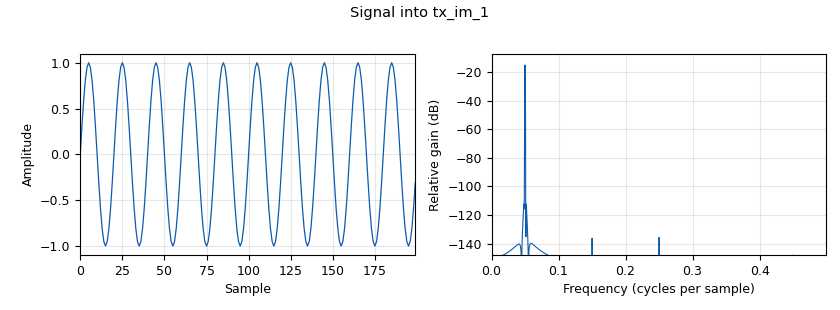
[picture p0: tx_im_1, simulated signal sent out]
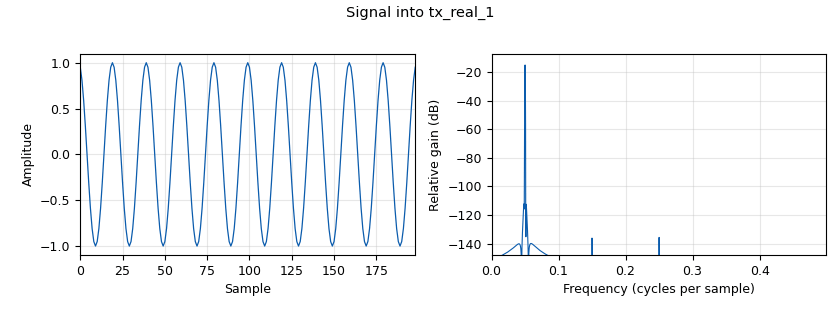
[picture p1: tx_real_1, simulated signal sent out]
<?xml version='1.0' encoding='utf-8'?>
<?grc format='1' created='3.7.9'?>
<flow_graph>
<block>
<key>options</key>
<param><key>id</key><value>Power</value></param>
<param><key>category</key><value>Custom</value></param>
<param><key>generate_options</key><value>wx_gui</value></param>
</block>
<block>
<key>variable</key>
<param><key>id</key><value>freq</value></param>
<param><key>value</key><value>5.8e09</value></param>
</block>
<block>
<key>variable</key>
<param><key>id</key><value>mean_length</value></param>
<param><key>value</key><value>1</value></param>
</block>
<block>
<key>variable</key>
<param><key>id</key><value>samp_rate</value></param>
<param><key>value</key><value>20</value></param>
</block>
<block>
<key>variable_slider</key>
<param><key>id</key><value>samp_rate</value></param>
<param><key>converver</key><value>float_converter</value></param>
<param><key>value</key><value>50</value></param>
<param><key>_enabled</key><value>0</value></param>
<param><key>label</key><value></value></param>
<param><key>max</key><value>1e5</value></param>
<param><key>min</key><value>0</value></param>
<param><key>num_steps</key><value>100</value></param>
<param><key>style</key><value>wx.SL_HORIZONTAL</value></param>
</block>
<block>
<key>variable_slider</key>
<param><key>id</key><value>source_freq</value></param>
<param><key>converver</key><value>float_converter</value></param>
<param><key>value</key><value>50</value></param>
<param><key>_enabled</key><value>0</value></param>
<param><key>label</key><value></value></param>
<param><key>max</key><value>200e3</value></param>
<param><key>min</key><value>0</value></param>
<param><key>num_steps</key><value>100</value></param>
<param><key>style</key><value>wx.SL_HORIZONTAL</value></param>
</block>
<block>
<key>variable</key>
<param><key>id</key><value>vect_len</value></param>
<param><key>value</key><value>1024</value></param>
</block>
<block>
<key>blocks_file_sink</key>
<param><key>id</key><value>Rx_im_1</value></param>
<param><key>file</key><value>/home/biomindr/Data/Rx_I_1</value></param>
<param><key>type</key><value>float</value></param>
<param><key>unbuffered</key><value>True</value></param>
<param><key>vlen</key><value>vect_len</value></param>
</block>
<block>
<key>blocks_file_sink</key>
<param><key>id</key><value>Rx_real_1</value></param>
<param><key>file</key><value>/home/biomindr/Data/Rx_R_1</value></param>
<param><key>type</key><value>float</value></param>
<param><key>unbuffered</key><value>True</value></param>
<param><key>vlen</key><value>vect_len</value></param>
</block>
<block>
<key>analog_sig_source_x</key>
<param><key>id</key><value>analog_sig_source_x_0</value></param>
<param><key>amp</key><value>1</value></param>
<param><key>freq</key><value>mean_length</value></param>
<param><key>offset</key><value>0</value></param>
<param><key>type</key><value>complex</value></param>
<param><key>samp_rate</key><value>samp_rate</value></param>
<param><key>waveform</key><value>analog.GR_SIN_WAVE</value></param>
</block>
<block>
<key>blocks_complex_to_imag</key>
<param><key>id</key><value>blocks_complex_to_imag_0_0</value></param>
<param><key>vlen</key><value>vect_len</value></param>
</block>
<block>
<key>blocks_complex_to_imag</key>
<param><key>id</key><value>blocks_complex_to_imag_0_1</value></param>
<param><key>vlen</key><value>vect_len</value></param>
</block>
<block>
<key>blocks_complex_to_mag_squared</key>
<param><key>id</key><value>blocks_complex_to_mag_squared_2</value></param>
</block>
<block>
<key>blocks_complex_to_real</key>
<param><key>id</key><value>blocks_complex_to_real_0</value></param>
<param><key>_enabled</key><value>0</value></param>
</block>
<block>
<key>blocks_complex_to_real</key>
<param><key>id</key><value>blocks_complex_to_real_0_0</value></param>
<param><key>vlen</key><value>vect_len</value></param>
</block>
<block>
<key>blocks_complex_to_real</key>
<param><key>id</key><value>blocks_complex_to_real_0_1</value></param>
<param><key>vlen</key><value>vect_len</value></param>
</block>
<block>
<key>blocks_conjugate_cc</key>
<param><key>id</key><value>blocks_conjugate_cc_0</value></param>
<param><key>_enabled</key><value>0</value></param>
</block>
<block>
<key>blocks_file_sink</key>
<param><key>id</key><value>blocks_file_sink_0</value></param>
<param><key>file</key><value>/home/biomindr/Data/Rx_A_1</value></param>
<param><key>type</key><value>float</value></param>
<param><key>vlen</key><value>vect_len</value></param>
</block>
<block>
<key>blocks_multiply_const_vxx</key>
<param><key>id</key><value>blocks_multiply_const_vxx_0</value></param>
<param><key>const</key><value>1000</value></param>
<param><key>_enabled</key><value>0</value></param>
<param><key>type</key><value>float</value></param>
</block>
<block>
<key>blocks_multiply_xx</key>
<param><key>id</key><value>blocks_multiply_xx_0</value></param>
<param><key>_enabled</key><value>0</value></param>
<param><key>type</key><value>complex</value></param>
</block>
<block>
<key>blocks_stream_to_vector</key>
<param><key>id</key><value>blocks_stream_to_vector_0</value></param>
<param><key>type</key><value>float</value></param>
<param><key>num_items</key><value>vect_len</value></param>
</block>
<block>
<key>blocks_stream_to_vector</key>
<param><key>id</key><value>blocks_stream_to_vector_0_0</value></param>
<param><key>type</key><value>complex</value></param>
<param><key>num_items</key><value>vect_len</value></param>
</block>
<block>
<key>blocks_stream_to_vector</key>
<param><key>id</key><value>blocks_stream_to_vector_0_1</value></param>
<param><key>type</key><value>complex</value></param>
<param><key>num_items</key><value>vect_len</value></param>
</block>
<block>
<key>blocks_file_sink</key>
<param><key>id</key><value>tx_im_1</value></param>
<param><key>file</key><value>/home/biomindr/Data/Tx_I_1</value></param>
<param><key>type</key><value>float</value></param>
<param><key>unbuffered</key><value>True</value></param>
<param><key>vlen</key><value>vect_len</value></param>
</block>
<block>
<key>blocks_file_sink</key>
<param><key>id</key><value>tx_real_1</value></param>
<param><key>file</key><value>/home/biomindr/Data/Tx_R_1.txt</value></param>
<param><key>type</key><value>float</value></param>
<param><key>unbuffered</key><value>True</value></param>
<param><key>vlen</key><value>vect_len</value></param>
</block>
<block>
<key>uhd_usrp_sink</key>
<param><key>id</key><value>uhd_usrp_sink_0</value></param>
<param><key>ant0</key><value>TX/RX</value></param>
<param><key>center_freq0</key><value>freq</value></param>
<param><key>norm_gain0</key><value>False</value></param>
<param><key>gain0</key><value>56</value></param>
<param><key>clock_rate</key><value>0.0</value></param>
<param><key>dev_args</key><value>""</value></param>
<param><key>type</key><value>fc32</value></param>
<param><key>sd_spec0</key><value>A:A</value></param>
<param><key>samp_rate</key><value>samp_rate</value></param>
<param><key>hide_cmd_port</key><value>False</value></param>
<param><key>sync</key><value></value></param>
<param><key>len_tag_name</key><value></value></param>
</block>
<block>
<key>uhd_usrp_source</key>
<param><key>id</key><value>uhd_usrp_source_0</value></param>
<param><key>ant0</key><value>RX2</value></param>
<param><key>center_freq0</key><value>freq</value></param>
<param><key>dc_offs_enb0</key><value>""</value></param>
<param><key>iq_imbal_enb0</key><value>""</value></param>
<param><key>norm_gain0</key><value>False</value></param>
<param><key>gain0</key><value>56</value></param>
<param><key>clock_rate</key><value>0.0</value></param>
<param><key>dev_args</key><value>""</value></param>
<param><key>sd_spec0</key><value>A:B</value></param>
<param><key>type</key><value>fc32</value></param>
<param><key>samp_rate</key><value>samp_rate</value></param>
<param><key>hide_cmd_port</key><value>False</value></param>
<param><key>sync</key><value></value></param>
</block>
<block>
<key>wxgui_numbersink2</key>
<param><key>id</key><value>wxgui_numbersink2_1</value></param>
<param><key>avg_alpha</key><value>1</value></param>
<param><key>average</key><value>True</value></param>
<param><key>decimal_places</key><value>2</value></param>
<param><key>factor</key><value>1.0</value></param>
<param><key>max_value</key><value>100</value></param>
<param><key>min_value</key><value>-100</value></param>
<param><key>number_rate</key><value>1</value></param>
<param><key>peak_hold</key><value>False</value></param>
<param><key>ref_level</key><value>0</value></param>
<param><key>samp_rate</key><value>samp_rate</value></param>
<param><key>show_gauge</key><value>True</value></param>
<param><key>title</key><value>Average received power (mW)</value></param>
<param><key>type</key><value>float</value></param>
<param><key>units</key><value>mW</value></param>
</block>
<block>
<key>wxgui_scopesink2</key>
<param><key>id</key><value>wxgui_scopesink2_0</value></param>
<param><key>ac_couple</key><value>False</value></param>
<param><key>num_inputs</key><value>1</value></param>
<param><key>samp_rate</key><value>samp_rate</value></param>
<param><key>t_scale</key><value>0</value></param>
<param><key>title</key><value>Scope Plot</value></param>
<param><key>trig_mode</key><value>wxgui.TRIG_MODE_AUTO</value></param>
<param><key>type</key><value>complex</value></param>
<param><key>v_offset</key><value>0</value></param>
<param><key>v_scale</key><value>0</value></param>
<param><key>xy_mode</key><value>False</value></param>
<param><key>y_axis_label</key><value>Counts</value></param>
</block>
<connection><source_block_id>analog_sig_source_x_0</source_block_id><sink_block_id>blocks_stream_to_vector_0_0</sink_block_id><source_key>0</source_key><sink_key>0</sink_key></connection>
<connection><source_block_id>analog_sig_source_x_0</source_block_id><sink_block_id>uhd_usrp_sink_0</sink_block_id><source_key>0</source_key><sink_key>0</sink_key></connection>
<connection><source_block_id>blocks_complex_to_imag_0_0</source_block_id><sink_block_id>tx_im_1</sink_block_id><source_key>0</source_key><sink_key>0</sink_key></connection>
<connection><source_block_id>blocks_complex_to_imag_0_1</source_block_id><sink_block_id>Rx_im_1</sink_block_id><source_key>0</source_key><sink_key>0</sink_key></connection>
<connection><source_block_id>blocks_complex_to_mag_squared_2</source_block_id><sink_block_id>blocks_stream_to_vector_0</sink_block_id><source_key>0</source_key><sink_key>0</sink_key></connection>
<connection><source_block_id>blocks_complex_to_mag_squared_2</source_block_id><sink_block_id>wxgui_numbersink2_1</sink_block_id><source_key>0</source_key><sink_key>0</sink_key></connection>
<connection><source_block_id>blocks_complex_to_real_0_0</source_block_id><sink_block_id>tx_real_1</sink_block_id><source_key>0</source_key><sink_key>0</sink_key></connection>
<connection><source_block_id>blocks_complex_to_real_0_1</source_block_id><sink_block_id>Rx_real_1</sink_block_id><source_key>0</source_key><sink_key>0</sink_key></connection>
<connection><source_block_id>blocks_stream_to_vector_0</source_block_id><sink_block_id>blocks_file_sink_0</sink_block_id><source_key>0</source_key><sink_key>0</sink_key></connection>
<connection><source_block_id>blocks_stream_to_vector_0_0</source_block_id><sink_block_id>blocks_complex_to_imag_0_0</sink_block_id><source_key>0</source_key><sink_key>0</sink_key></connection>
<connection><source_block_id>blocks_stream_to_vector_0_0</source_block_id><sink_block_id>blocks_complex_to_real_0_0</sink_block_id><source_key>0</source_key><sink_key>0</sink_key></connection>
<connection><source_block_id>blocks_stream_to_vector_0_1</source_block_id><sink_block_id>blocks_complex_to_imag_0_1</sink_block_id><source_key>0</source_key><sink_key>0</sink_key></connection>
<connection><source_block_id>blocks_stream_to_vector_0_1</source_block_id><sink_block_id>blocks_complex_to_real_0_1</sink_block_id><source_key>0</source_key><sink_key>0</sink_key></connection>
<connection><source_block_id>uhd_usrp_source_0</source_block_id><sink_block_id>blocks_complex_to_mag_squared_2</sink_block_id><source_key>0</source_key><sink_key>0</sink_key></connection>
<connection><source_block_id>uhd_usrp_source_0</source_block_id><sink_block_id>blocks_stream_to_vector_0_1</sink_block_id><source_key>0</source_key><sink_key>0</sink_key></connection>
<connection><source_block_id>uhd_usrp_source_0</source_block_id><sink_block_id>wxgui_scopesink2_0</sink_block_id><source_key>0</source_key><sink_key>0</sink_key></connection>
</flow_graph>
